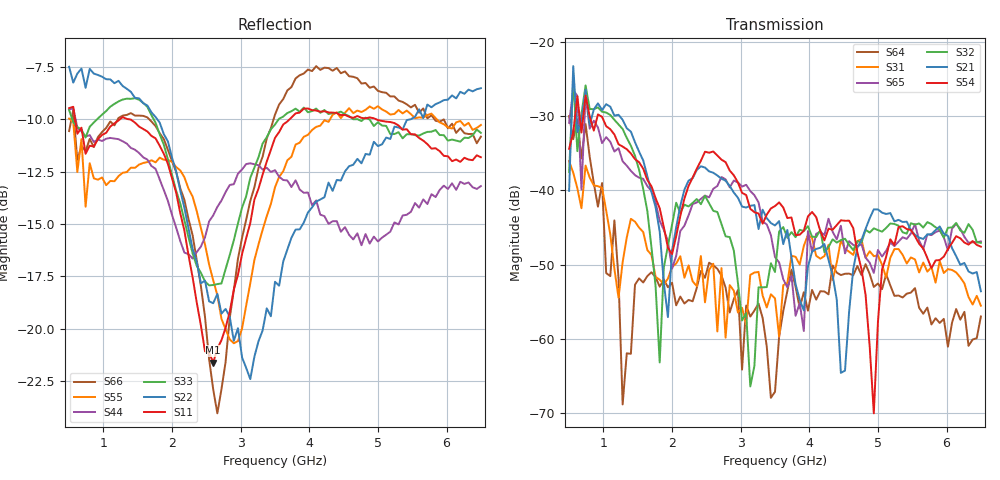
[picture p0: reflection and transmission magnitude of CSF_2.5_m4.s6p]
!Keysight Technologies,M9804A,MY58100912,A.14.10.03
!Date: Thursday, April 27, 2023 10:28:33
!Correction: S11(C  6-Port  )
!S12(C  6-Port  )
!S13(C  6-Port  )
!S14(C  6-Port  )
!S15(C  6-Port  )
!S16(C  6-Port  )
!S21(C  6-Port  )
!S22(C  6-Port  )
!S23(C  6-Port  )
!S24(C  6-Port  )
!S25(C  6-Port  )
!S26(C  6-Port  )
!S31(C  6-Port  )
!S32(C  6-Port  )
!S33(C  6-Port  )
!S34(C  6-Port  )
!S35(C  6-Port  )
!S36(C  6-Port  )
!S41(C  6-Port  )
!S42(C  6-Port  )
!S43(C  6-Port  )
!S44(C  6-Port  )
!S45(C  6-Port  )
!S46(C  6-Port  )
!S51(C  6-Port  )
!S52(C  6-Port  )
!S53(C  6-Port  )
!S54(C  6-Port  )
!S55(C  6-Port  )
!S56(C  6-Port  )
!S61(C  6-Port  )
!S62(C  6-Port  )
!S63(C  6-Port  )
!S64(C  6-Port  )
!S65(C  6-Port  )
!S66(C  6-Port  )
!S6P File: Measurement: :
# Hz S  RI  R 50
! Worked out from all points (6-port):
!   101 points, 500 MHz to 6.5 GHz, reference 50 ohm
!   strongest paths, dB at 500 MHz, 2 GHz, 3.5 GHz, 5 GHz, 6.5 GHz:
!     S54: -34.4, -48.6, -42.1, -57.7, -47.6
!     S21: -40.1, -48.1, -44.7, -42.6, -53.6
!     S32: -37.5, -44.6, -51.0, -45.4, -47.1
!     S65: -30.9, -50.6, -49.0, -48.0, -46.9
!     S31: -36.1, -50.3, -54.6, -48.8, -55.6
!     S64: -30.0, -52.5, -67.2, -52.6, -57.0
!   lowest |S11| = -21.6 dB at 2.6 GHz (marker M1), VSWR 1.18, Z = 42.6 + j2 ohm
!   |S11| at or under -10 dB: 587.5 MHz to 1.243 GHz (655.1 MHz wide, 71.6 % of centre); 1.361 GHz to 3.715 GHz (2.354 GHz wide, 92.7 % of centre); 4.97 GHz to end of sweep
